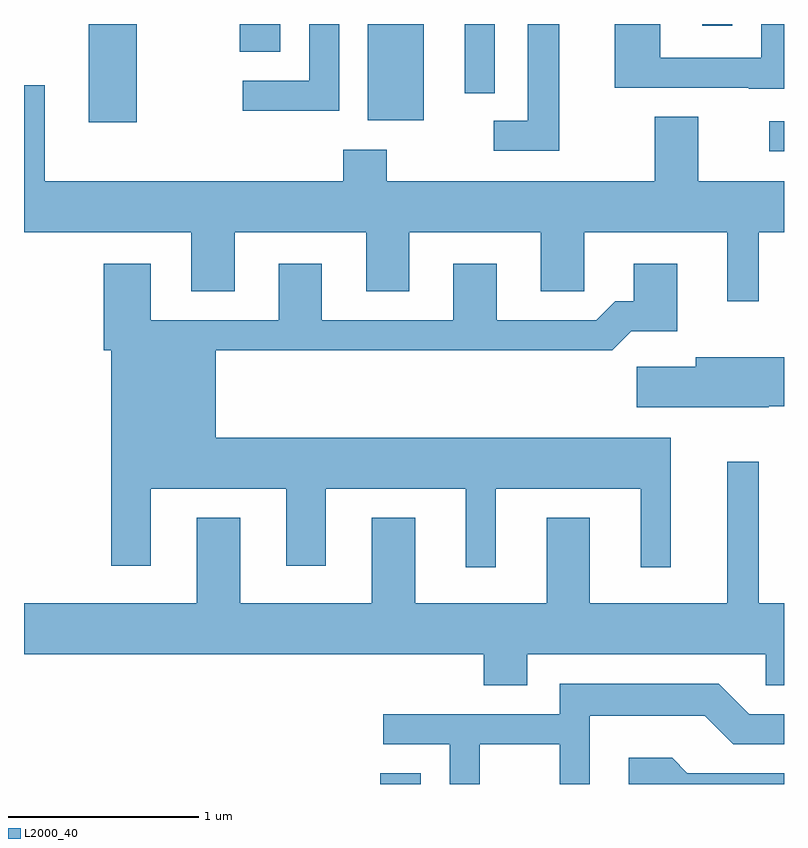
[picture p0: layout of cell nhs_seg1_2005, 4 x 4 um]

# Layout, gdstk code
import gdstk
lib = gdstk.Library(unit=1e-6, precision=1e-09)
def R(c, l, rs):  # rectangles x0, y0, x1, y1
    for r in rs: c.add(gdstk.rectangle(r[:2], r[2:], *l))
def P(c, l, *ps):  # polygons
    for p in ps: c.add(gdstk.Polygon(p, *l))
L2000_40 = (2000, 40)

nhs_seg1_2005 = lib.new_cell('nhs_seg1_2005')
R(nhs_seg1_2005, L2000_40, [(247.486,967.712,247.699,967.769), (249.533,971.041,249.611,971.199), (245.951,971.196,246.204,971.712), (247.421,971.206,247.714,971.712), (247.931,971.348,248.089,971.712), (246.746,971.566,246.959,971.712), (249.181,971.703,249.339,971.712)])
P(nhs_seg1_2005, L2000_40, [(249.611,971.712),(249.491,971.712),(249.491,971.534),(248.959,971.534),(248.959,971.712),(248.721,971.712),(248.721,971.376),(249.425,971.376),(249.425,971.371),(249.611,971.371)],
  [(248.429,971.712),(248.261,971.712),(248.261,971.204),(248.083,971.204),(248.083,971.046),(248.429,971.046)],
  [(247.269,971.712),(247.111,971.712),(247.111,971.414),(246.763,971.414),(246.763,971.256),(247.269,971.256)],
  [(245.719,971.389),(245.611,971.389),(245.611,970.616),(246.491,970.616),(246.491,970.306),(246.719,970.306),(246.719,970.616),(247.411,970.616),(247.411,970.306),(247.639,970.306),(247.639,970.616),(248.331,970.616),(248.331,970.306),(248.559,970.306),(248.559,970.616),(249.311,970.616),(249.311,970.253),(249.479,970.253),(249.479,970.616),(249.611,970.616),(249.611,970.884),(249.159,970.884),(249.159,971.224),(248.931,971.224),(248.931,970.884),(247.519,970.884),(247.519,971.049),(247.291,971.049),(247.291,970.884),(245.719,970.884)],
  [(248.094,969.266),(248.856,969.266),(248.856,968.853),(249.014,968.853),(249.014,969.534),(246.619,969.534),(246.619,969.996),(248.707,969.996),(248.807,970.096),(249.049,970.096),(249.049,970.449),(248.821,970.449),(248.821,970.254),(248.724,970.254),(248.624,970.154),(248.099,970.154),(248.099,970.449),(247.871,970.449),(247.871,970.154),(247.179,970.154),(247.179,970.449),(246.951,970.449),(246.951,970.154),(246.279,970.154),(246.279,970.449),(246.031,970.449),(246.031,969.996),(246.071,969.996),(246.071,968.861),(246.279,968.861),(246.279,969.266),(246.991,969.266),(246.991,968.861),(247.199,968.861),(247.199,969.266),(247.936,969.266),(247.936,968.853),(248.094,968.853)],
  [(249.53,969.701),(249.611,969.701),(249.611,969.959),(249.146,969.959),(249.146,969.909),(248.836,969.909),(248.836,969.696),(249.53,969.696)],
  [(248.259,968.396),(249.516,968.396),(249.516,968.231),(249.611,968.231),(249.611,968.664),(249.479,968.664),(249.479,969.408),(249.311,969.408),(249.311,968.664),(248.589,968.664),(248.589,969.114),(248.361,969.114),(248.361,968.664),(247.669,968.664),(247.669,969.114),(247.441,969.114),(247.441,968.664),(246.749,968.664),(246.749,969.114),(246.521,969.114),(246.521,968.664),(245.611,968.664),(245.611,968.396),(248.031,968.396),(248.031,968.231),(248.259,968.231)],
  [(248.009,967.921),(248.431,967.921),(248.431,967.712),(248.589,967.712),(248.589,968.071),(249.194,968.071),(249.344,967.921),(249.611,967.921),(249.611,968.079),(249.427,968.079),(249.267,968.239),(248.431,968.239),(248.431,968.079),(247.503,968.079),(247.503,967.921),(247.851,967.921),(247.851,967.712),(248.009,967.712)],
  [(249.611,967.769),(249.102,967.769),(249.022,967.849),(248.793,967.849),(248.793,967.712),(249.611,967.712)])

lib.write_gds('nhs_seg1_2005.gds')
